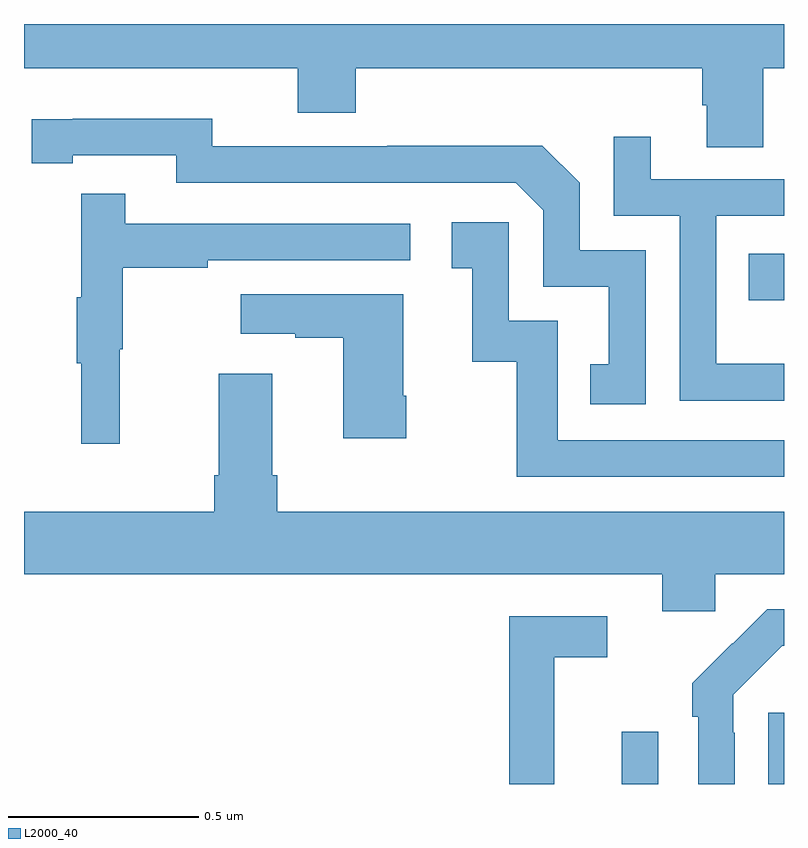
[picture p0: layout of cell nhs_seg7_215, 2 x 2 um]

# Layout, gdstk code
import gdstk
lib = gdstk.Library(unit=1e-6, precision=1e-09)
def R(c, l, rs):  # rectangles x0, y0, x1, y1
    for r in rs: c.add(gdstk.rectangle(r[:2], r[2:], *l))
def P(c, l, *ps):  # polygons
    for p in ps: c.add(gdstk.Polygon(p, *l))
L2000_40 = (2000, 40)

nhs_seg7_215 = lib.new_cell('nhs_seg7_215')
R(nhs_seg7_215, L2000_40, [(114.573,1064,114.669,1064.137), (114.959,1064,115,1064.188), (114.907,1065.273,115,1065.396)])
P(nhs_seg7_215, L2000_40, [(114.945,1065.884),(115,1065.884),(115,1066),(113,1066),(113,1065.884),(113.72,1065.884),(113.72,1065.767),(113.873,1065.767),(113.873,1065.884),(114.785,1065.884),(114.785,1065.786),(114.797,1065.786),(114.797,1065.676),(114.945,1065.676)],
  [(114.636,1065.405),(114.462,1065.405),(114.462,1065.582),(114.364,1065.68),(113.956,1065.68),(113.956,1065.678),(113.496,1065.678),(113.496,1065.751),(113.128,1065.751),(113.128,1065.75),(113.02,1065.75),(113.02,1065.634),(113.128,1065.634),(113.128,1065.654),(113.4,1065.654),(113.4,1065.582),(114.294,1065.582),(114.366,1065.51),(114.366,1065.309),(114.539,1065.309),(114.539,1065.105),(114.49,1065.105),(114.49,1065),(114.636,1065)],
  [(115,1065.106),(114.822,1065.106),(114.822,1065.495),(115,1065.495),(115,1065.591),(114.649,1065.591),(114.649,1065.703),(114.552,1065.703),(114.552,1065.495),(114.726,1065.495),(114.726,1065.009),(115,1065.009)],
  [(113.252,1065.144),(113.26,1065.144),(113.26,1065.358),(113.483,1065.358),(113.483,1065.378),(114.016,1065.378),(114.016,1065.474),(113.267,1065.474),(113.267,1065.553),(113.15,1065.553),(113.15,1065.281),(113.139,1065.281),(113.139,1065.107),(113.15,1065.107),(113.15,1064.895),(113.252,1064.895)],
  [(115,1064.904),(114.405,1064.904),(114.405,1065.219),(114.276,1065.219),(114.276,1065.478),(114.126,1065.478),(114.126,1065.357),(114.179,1065.357),(114.179,1065.111),(114.297,1065.111),(114.297,1064.808),(115,1064.808)],
  [(114.006,1065.022),(113.998,1065.022),(113.998,1065.289),(113.571,1065.289),(113.571,1065.185),(113.714,1065.185),(113.714,1065.175),(113.84,1065.175),(113.84,1064.91),(114.006,1064.91)],
  [(114.819,1064.552),(115,1064.552),(115,1064.716),(113.666,1064.716),(113.666,1064.812),(113.653,1064.812),(113.653,1065.079),(113.513,1065.079),(113.513,1064.812),(113.501,1064.812),(113.501,1064.716),(113,1064.716),(113,1064.552),(114.68,1064.552),(114.68,1064.454),(114.819,1064.454)],
  [(114.87,1064.135),(114.867,1064.135),(114.867,1064.235),(114.996,1064.364),(115,1064.364),(115,1064.46),(114.956,1064.46),(114.865,1064.369),(114.864,1064.37),(114.759,1064.265),(114.759,1064.177),(114.774,1064.177),(114.774,1064),(114.87,1064)],
  [(114.395,1064.334),(114.535,1064.334),(114.535,1064.442),(114.277,1064.442),(114.277,1064),(114.395,1064)])

lib.write_gds('nhs_seg7_215.gds')
